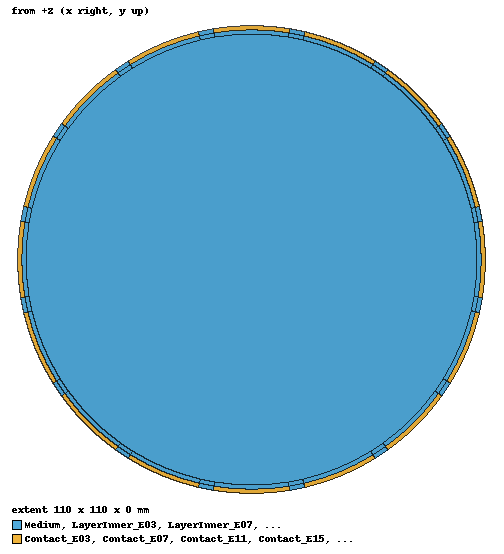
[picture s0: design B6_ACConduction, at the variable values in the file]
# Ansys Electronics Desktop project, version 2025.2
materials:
  vacuum: permittivity=1
  CCEIT_Medium: permittivity=80 permeability=1 conductivity=0.025S_per_m
  CCEIT_Layer: permittivity=1.58 permeability=1 conductivity=1e-12S_per_m
  CCEIT_Contact: permittivity=10 permeability=1 conductivity=0.1S_per_m

design B6_ACConduction (Maxwell 2D, AC Conduction, XY geometry, model units mm)
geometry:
  Medium [CCEIT_Medium] = polyline(z=0mm, xy in mm: (-8.6340743, -52.291995) (-4.3315272, -52.822702) (3.2452068e-15, -53) (4.3315272, -52.822702) (8.6340743, -52.291995) (12.034436, -51.615621) (16.212564, -50.459417) (20.282222, -48.965615) (24.216182, -47.14421) (27.988125, -45.007387) (30.870812, -43.081237) (34.288439, -40.414143) (37.476659, -37.476659) (40.414143, -34.288439) (43.081237, -30.870812) (45.007387, -27.988125) (47.14421, -24.216182) (48.965615, -20.282222) (50.459417, -16.212564) (51.615621, -12.034436) (52.291995, -8.6340743) (52.822702, -4.3315272) (53, 0) (52.822702, 4.3315272) (52.291995, 8.6340743) (51.615621, 12.034436) (50.459417, 16.212564) (48.965615, 20.282222) (47.14421, 24.216182) (45.007387, 27.988125) (43.081237, 30.870812) (40.414143, 34.288439) (37.476659, 37.476659) (34.288439, 40.414143) (30.870812, 43.081237) (27.988125, 45.007387) (24.216182, 47.14421) (20.282222, 48.965615) (16.212564, 50.459417) (12.034436, 51.615621) (8.6340743, 52.291995) (4.3315272, 52.822702) (3.2452068e-15, 53) (-4.3315272, 52.822702) (-8.6340743, 52.291995) (-12.034436, 51.615621) (-16.212564, 50.459417) (-20.282222, 48.965615) (-24.216182, 47.14421) (-27.988125, 45.007387) (-30.870812, 43.081237) (-34.288439, 40.414143) (-37.476659, 37.476659) (-40.414143, 34.288439) (-43.081237, 30.870812) (-45.007387, 27.988125) (-47.14421, 24.216182) (-48.965615, 20.282222) (-50.459417, 16.212564) (-51.615621, 12.034436) (-52.291995, 8.6340743) (-52.822702, 4.3315272) (-53, 6.4904137e-15) (-52.822702, -4.3315272) (-52.291995, -8.6340743) (-51.615621, -12.034436) (-50.459417, -16.212564) (-48.965615, -20.282222) (-47.14421, -24.216182) (-45.007387, -27.988125) (-43.081237, -30.870812) (-40.414143, -34.288439) (-37.476659, -37.476659) (-34.288439, -40.414143) (-30.870812, -43.081237) (-27.988125, -45.007387) (-24.216182, -47.14421) (-20.282222, -48.965615) (-16.212564, -50.459417) (-12.034436, -51.615621), closed, covered)
  LayerInner_E01 [CCEIT_Layer] = polyline(z=0mm, xy in mm: (-8.7969814, -53.278637) (-4.4132541, -53.819357) (3.3064372e-15, -54) (4.4132541, -53.819357) (8.7969814, -53.278637) (8.6340743, -52.291995) (4.3315272, -52.822702) (3.2452068e-15, -53) (-4.3315272, -52.822702) (-8.6340743, -52.291995), closed, covered)
  LayerInner_G01 [CCEIT_Layer] = polyline(z=0mm, xy in mm: (8.7969814, -53.278637) (12.2615, -52.589501) (12.034436, -51.615621) (8.6340743, -52.291995), closed, covered)
  Contact_E01 [CCEIT_Contact] = polyline(z=0mm, xy in mm: (-8.9598885, -54.265278) (-4.494981, -54.816012) (3.3676675e-15, -55) (4.494981, -54.816012) (8.9598885, -54.265278) (8.7969814, -53.278637) (4.4132541, -53.819357) (3.3064372e-15, -54) (-4.4132541, -53.819357) (-8.7969814, -53.278637), closed, covered)
  LayerOuter_G01 [CCEIT_Layer] = polyline(z=0mm, xy in mm: (8.9598885, -54.265278) (12.488565, -53.563381) (12.2615, -52.589501) (8.7969814, -53.278637), closed, covered)
  LayerInner_E02 [CCEIT_Layer] = polyline(z=0mm, xy in mm: (12.2615, -52.589501) (16.518461, -51.411482) (20.664905, -49.889495) (24.673091, -48.033723) (28.516203, -45.856583) (27.988125, -45.007387) (24.216182, -47.14421) (20.282222, -48.965615) (16.212564, -50.459417) (12.034436, -51.615621), closed, covered)
  LayerInner_G02 [CCEIT_Layer] = polyline(z=0mm, xy in mm: (28.516203, -45.856583) (31.45328, -43.89409) (30.870812, -43.081237) (27.988125, -45.007387), closed, covered)
  Contact_E02 [CCEIT_Contact] = polyline(z=0mm, xy in mm: (12.488565, -53.563381) (16.824359, -52.363546) (21.047589, -50.813374) (25.13, -48.923237) (29.04428, -46.705779) (28.516203, -45.856583) (24.673091, -48.033723) (20.664905, -49.889495) (16.518461, -51.411482) (12.2615, -52.589501), closed, covered)
  LayerOuter_G02 [CCEIT_Layer] = polyline(z=0mm, xy in mm: (29.04428, -46.705779) (32.035748, -44.706944) (31.45328, -43.89409) (28.516203, -45.856583), closed, covered)
  LayerInner_E03 [CCEIT_Layer] = polyline(z=0mm, xy in mm: (31.45328, -43.89409) (34.93539, -41.176674) (38.183766, -38.183766) (41.176674, -34.93539) (43.89409, -31.45328) (43.081237, -30.870812) (40.414143, -34.288439) (37.476659, -37.476659) (34.288439, -40.414143) (30.870812, -43.081237), closed, covered)
  LayerInner_G03 [CCEIT_Layer] = polyline(z=0mm, xy in mm: (43.89409, -31.45328) (45.856583, -28.516203) (45.007387, -27.988125) (43.081237, -30.870812), closed, covered)
  Contact_E03 [CCEIT_Contact] = polyline(z=0mm, xy in mm: (32.035748, -44.706944) (35.582342, -41.939205) (38.890873, -38.890873) (41.939205, -35.582342) (44.706944, -32.035748) (43.89409, -31.45328) (41.176674, -34.93539) (38.183766, -38.183766) (34.93539, -41.176674) (31.45328, -43.89409), closed, covered)
  LayerOuter_G03 [CCEIT_Layer] = polyline(z=0mm, xy in mm: (44.706944, -32.035748) (46.705779, -29.04428) (45.856583, -28.516203) (43.89409, -31.45328), closed, covered)
  LayerInner_E04 [CCEIT_Layer] = polyline(z=0mm, xy in mm: (45.856583, -28.516203) (48.033723, -24.673091) (49.889495, -20.664905) (51.411482, -16.518461) (52.589501, -12.2615) (51.615621, -12.034436) (50.459417, -16.212564) (48.965615, -20.282222) (47.14421, -24.216182) (45.007387, -27.988125), closed, covered)
  LayerInner_G04 [CCEIT_Layer] = polyline(z=0mm, xy in mm: (52.589501, -12.2615) (53.278637, -8.7969814) (52.291995, -8.6340743) (51.615621, -12.034436), closed, covered)
  Contact_E04 [CCEIT_Contact] = polyline(z=0mm, xy in mm: (46.705779, -29.04428) (48.923237, -25.13) (50.813374, -21.047589) (52.363546, -16.824359) (53.563381, -12.488565) (52.589501, -12.2615) (51.411482, -16.518461) (49.889495, -20.664905) (48.033723, -24.673091) (45.856583, -28.516203), closed, covered)
  LayerOuter_G04 [CCEIT_Layer] = polyline(z=0mm, xy in mm: (53.563381, -12.488565) (54.265278, -8.9598885) (53.278637, -8.7969814) (52.589501, -12.2615), closed, covered)
  LayerInner_E05 [CCEIT_Layer] = polyline(z=0mm, xy in mm: (53.278637, -8.7969814) (53.819357, -4.4132541) (54, 0) (53.819357, 4.4132541) (53.278637, 8.7969814) (52.291995, 8.6340743) (52.822702, 4.3315272) (53, 0) (52.822702, -4.3315272) (52.291995, -8.6340743), closed, covered)
  LayerInner_G05 [CCEIT_Layer] = polyline(z=0mm, xy in mm: (53.278637, 8.7969814) (52.589501, 12.2615) (51.615621, 12.034436) (52.291995, 8.6340743), closed, covered)
  Contact_E05 [CCEIT_Contact] = polyline(z=0mm, xy in mm: (54.265278, -8.9598885) (54.816012, -4.494981) (55, 0) (54.816012, 4.494981) (54.265278, 8.9598885) (53.278637, 8.7969814) (53.819357, 4.4132541) (54, 0) (53.819357, -4.4132541) (53.278637, -8.7969814), closed, covered)
  LayerOuter_G05 [CCEIT_Layer] = polyline(z=0mm, xy in mm: (54.265278, 8.9598885) (53.563381, 12.488565) (52.589501, 12.2615) (53.278637, 8.7969814), closed, covered)
  LayerInner_E06 [CCEIT_Layer] = polyline(z=0mm, xy in mm: (52.589501, 12.2615) (51.411482, 16.518461) (49.889495, 20.664905) (48.033723, 24.673091) (45.856583, 28.516203) (45.007387, 27.988125) (47.14421, 24.216182) (48.965615, 20.282222) (50.459417, 16.212564) (51.615621, 12.034436), closed, covered)
  LayerInner_G06 [CCEIT_Layer] = polyline(z=0mm, xy in mm: (45.856583, 28.516203) (43.89409, 31.45328) (43.081237, 30.870812) (45.007387, 27.988125), closed, covered)
  Contact_E06 [CCEIT_Contact] = polyline(z=0mm, xy in mm: (53.563381, 12.488565) (52.363546, 16.824359) (50.813374, 21.047589) (48.923237, 25.13) (46.705779, 29.04428) (45.856583, 28.516203) (48.033723, 24.673091) (49.889495, 20.664905) (51.411482, 16.518461) (52.589501, 12.2615), closed, covered)
  LayerOuter_G06 [CCEIT_Layer] = polyline(z=0mm, xy in mm: (46.705779, 29.04428) (44.706944, 32.035748) (43.89409, 31.45328) (45.856583, 28.516203), closed, covered)
  LayerInner_E07 [CCEIT_Layer] = polyline(z=0mm, xy in mm: (43.89409, 31.45328) (41.176674, 34.93539) (38.183766, 38.183766) (34.93539, 41.176674) (31.45328, 43.89409) (30.870812, 43.081237) (34.288439, 40.414143) (37.476659, 37.476659) (40.414143, 34.288439) (43.081237, 30.870812), closed, covered)
  LayerInner_G07 [CCEIT_Layer] = polyline(z=0mm, xy in mm: (31.45328, 43.89409) (28.516203, 45.856583) (27.988125, 45.007387) (30.870812, 43.081237), closed, covered)
  Contact_E07 [CCEIT_Contact] = polyline(z=0mm, xy in mm: (44.706944, 32.035748) (41.939205, 35.582342) (38.890873, 38.890873) (35.582342, 41.939205) (32.035748, 44.706944) (31.45328, 43.89409) (34.93539, 41.176674) (38.183766, 38.183766) (41.176674, 34.93539) (43.89409, 31.45328), closed, covered)
  LayerOuter_G07 [CCEIT_Layer] = polyline(z=0mm, xy in mm: (32.035748, 44.706944) (29.04428, 46.705779) (28.516203, 45.856583) (31.45328, 43.89409), closed, covered)
  LayerInner_E08 [CCEIT_Layer] = polyline(z=0mm, xy in mm: (28.516203, 45.856583) (24.673091, 48.033723) (20.664905, 49.889495) (16.518461, 51.411482) (12.2615, 52.589501) (12.034436, 51.615621) (16.212564, 50.459417) (20.282222, 48.965615) (24.216182, 47.14421) (27.988125, 45.007387), closed, covered)
  LayerInner_G08 [CCEIT_Layer] = polyline(z=0mm, xy in mm: (12.2615, 52.589501) (8.7969814, 53.278637) (8.6340743, 52.291995) (12.034436, 51.615621), closed, covered)
  Contact_E08 [CCEIT_Contact] = polyline(z=0mm, xy in mm: (29.04428, 46.705779) (25.13, 48.923237) (21.047589, 50.813374) (16.824359, 52.363546) (12.488565, 53.563381) (12.2615, 52.589501) (16.518461, 51.411482) (20.664905, 49.889495) (24.673091, 48.033723) (28.516203, 45.856583), closed, covered)
  LayerOuter_G08 [CCEIT_Layer] = polyline(z=0mm, xy in mm: (12.488565, 53.563381) (8.9598885, 54.265278) (8.7969814, 53.278637) (12.2615, 52.589501), closed, covered)
  LayerInner_E09 [CCEIT_Layer] = polyline(z=0mm, xy in mm: (8.7969814, 53.278637) (4.4132541, 53.819357) (3.3064372e-15, 54) (-4.4132541, 53.819357) (-8.7969814, 53.278637) (-8.6340743, 52.291995) (-4.3315272, 52.822702) (3.2452068e-15, 53) (4.3315272, 52.822702) (8.6340743, 52.291995), closed, covered)
  LayerInner_G09 [CCEIT_Layer] = polyline(z=0mm, xy in mm: (-8.7969814, 53.278637) (-12.2615, 52.589501) (-12.034436, 51.615621) (-8.6340743, 52.291995), closed, covered)
  Contact_E09 [CCEIT_Contact] = polyline(z=0mm, xy in mm: (8.9598885, 54.265278) (4.494981, 54.816012) (3.3676675e-15, 55) (-4.494981, 54.816012) (-8.9598885, 54.265278) (-8.7969814, 53.278637) (-4.4132541, 53.819357) (3.3064372e-15, 54) (4.4132541, 53.819357) (8.7969814, 53.278637), closed, covered)
  LayerOuter_G09 [CCEIT_Layer] = polyline(z=0mm, xy in mm: (-8.9598885, 54.265278) (-12.488565, 53.563381) (-12.2615, 52.589501) (-8.7969814, 53.278637), closed, covered)
  LayerInner_E10 [CCEIT_Layer] = polyline(z=0mm, xy in mm: (-12.2615, 52.589501) (-16.518461, 51.411482) (-20.664905, 49.889495) (-24.673091, 48.033723) (-28.516203, 45.856583) (-27.988125, 45.007387) (-24.216182, 47.14421) (-20.282222, 48.965615) (-16.212564, 50.459417) (-12.034436, 51.615621), closed, covered)
  LayerInner_G10 [CCEIT_Layer] = polyline(z=0mm, xy in mm: (-28.516203, 45.856583) (-31.45328, 43.89409) (-30.870812, 43.081237) (-27.988125, 45.007387), closed, covered)
  Contact_E10 [CCEIT_Contact] = polyline(z=0mm, xy in mm: (-12.488565, 53.563381) (-16.824359, 52.363546) (-21.047589, 50.813374) (-25.13, 48.923237) (-29.04428, 46.705779) (-28.516203, 45.856583) (-24.673091, 48.033723) (-20.664905, 49.889495) (-16.518461, 51.411482) (-12.2615, 52.589501), closed, covered)
  LayerOuter_G10 [CCEIT_Layer] = polyline(z=0mm, xy in mm: (-29.04428, 46.705779) (-32.035748, 44.706944) (-31.45328, 43.89409) (-28.516203, 45.856583), closed, covered)
  LayerInner_E11 [CCEIT_Layer] = polyline(z=0mm, xy in mm: (-31.45328, 43.89409) (-34.93539, 41.176674) (-38.183766, 38.183766) (-41.176674, 34.93539) (-43.89409, 31.45328) (-43.081237, 30.870812) (-40.414143, 34.288439) (-37.476659, 37.476659) (-34.288439, 40.414143) (-30.870812, 43.081237), closed, covered)
  LayerInner_G11 [CCEIT_Layer] = polyline(z=0mm, xy in mm: (-43.89409, 31.45328) (-45.856583, 28.516203) (-45.007387, 27.988125) (-43.081237, 30.870812), closed, covered)
  Contact_E11 [CCEIT_Contact] = polyline(z=0mm, xy in mm: (-32.035748, 44.706944) (-35.582342, 41.939205) (-38.890873, 38.890873) (-41.939205, 35.582342) (-44.706944, 32.035748) (-43.89409, 31.45328) (-41.176674, 34.93539) (-38.183766, 38.183766) (-34.93539, 41.176674) (-31.45328, 43.89409), closed, covered)
  LayerOuter_G11 [CCEIT_Layer] = polyline(z=0mm, xy in mm: (-44.706944, 32.035748) (-46.705779, 29.04428) (-45.856583, 28.516203) (-43.89409, 31.45328), closed, covered)
  LayerInner_E12 [CCEIT_Layer] = polyline(z=0mm, xy in mm: (-45.856583, 28.516203) (-48.033723, 24.673091) (-49.889495, 20.664905) (-51.411482, 16.518461) (-52.589501, 12.2615) (-51.615621, 12.034436) (-50.459417, 16.212564) (-48.965615, 20.282222) (-47.14421, 24.216182) (-45.007387, 27.988125), closed, covered)
  LayerInner_G12 [CCEIT_Layer] = polyline(z=0mm, xy in mm: (-52.589501, 12.2615) (-53.278637, 8.7969814) (-52.291995, 8.6340743) (-51.615621, 12.034436), closed, covered)
  Contact_E12 [CCEIT_Contact] = polyline(z=0mm, xy in mm: (-46.705779, 29.04428) (-48.923237, 25.13) (-50.813374, 21.047589) (-52.363546, 16.824359) (-53.563381, 12.488565) (-52.589501, 12.2615) (-51.411482, 16.518461) (-49.889495, 20.664905) (-48.033723, 24.673091) (-45.856583, 28.516203), closed, covered)
  LayerOuter_G12 [CCEIT_Layer] = polyline(z=0mm, xy in mm: (-53.563381, 12.488565) (-54.265278, 8.9598885) (-53.278637, 8.7969814) (-52.589501, 12.2615), closed, covered)
  LayerInner_E13 [CCEIT_Layer] = polyline(z=0mm, xy in mm: (-53.278637, 8.7969814) (-53.819357, 4.4132541) (-54, 6.6128743e-15) (-53.819357, -4.4132541) (-53.278637, -8.7969814) (-52.291995, -8.6340743) (-52.822702, -4.3315272) (-53, 6.4904137e-15) (-52.822702, 4.3315272) (-52.291995, 8.6340743), closed, covered)
  LayerInner_G13 [CCEIT_Layer] = polyline(z=0mm, xy in mm: (-53.278637, -8.7969814) (-52.589501, -12.2615) (-51.615621, -12.034436) (-52.291995, -8.6340743), closed, covered)
  Contact_E13 [CCEIT_Contact] = polyline(z=0mm, xy in mm: (-54.265278, 8.9598885) (-54.816012, 4.494981) (-55, 6.7353349e-15) (-54.816012, -4.494981) (-54.265278, -8.9598885) (-53.278637, -8.7969814) (-53.819357, -4.4132541) (-54, 6.6128743e-15) (-53.819357, 4.4132541) (-53.278637, 8.7969814), closed, covered)
  LayerOuter_G13 [CCEIT_Layer] = polyline(z=0mm, xy in mm: (-54.265278, -8.9598885) (-53.563381, -12.488565) (-52.589501, -12.2615) (-53.278637, -8.7969814), closed, covered)
  LayerInner_E14 [CCEIT_Layer] = polyline(z=0mm, xy in mm: (-52.589501, -12.2615) (-51.411482, -16.518461) (-49.889495, -20.664905) (-48.033723, -24.673091) (-45.856583, -28.516203) (-45.007387, -27.988125) (-47.14421, -24.216182) (-48.965615, -20.282222) (-50.459417, -16.212564) (-51.615621, -12.034436), closed, covered)
  LayerInner_G14 [CCEIT_Layer] = polyline(z=0mm, xy in mm: (-45.856583, -28.516203) (-43.89409, -31.45328) (-43.081237, -30.870812) (-45.007387, -27.988125), closed, covered)
  Contact_E14 [CCEIT_Contact] = polyline(z=0mm, xy in mm: (-53.563381, -12.488565) (-52.363546, -16.824359) (-50.813374, -21.047589) (-48.923237, -25.13) (-46.705779, -29.04428) (-45.856583, -28.516203) (-48.033723, -24.673091) (-49.889495, -20.664905) (-51.411482, -16.518461) (-52.589501, -12.2615), closed, covered)
  LayerOuter_G14 [CCEIT_Layer] = polyline(z=0mm, xy in mm: (-46.705779, -29.04428) (-44.706944, -32.035748) (-43.89409, -31.45328) (-45.856583, -28.516203), closed, covered)
  LayerInner_E15 [CCEIT_Layer] = polyline(z=0mm, xy in mm: (-43.89409, -31.45328) (-41.176674, -34.93539) (-38.183766, -38.183766) (-34.93539, -41.176674) (-31.45328, -43.89409) (-30.870812, -43.081237) (-34.288439, -40.414143) (-37.476659, -37.476659) (-40.414143, -34.288439) (-43.081237, -30.870812), closed, covered)
  LayerInner_G15 [CCEIT_Layer] = polyline(z=0mm, xy in mm: (-31.45328, -43.89409) (-28.516203, -45.856583) (-27.988125, -45.007387) (-30.870812, -43.081237), closed, covered)
  Contact_E15 [CCEIT_Contact] = polyline(z=0mm, xy in mm: (-44.706944, -32.035748) (-41.939205, -35.582342) (-38.890873, -38.890873) (-35.582342, -41.939205) (-32.035748, -44.706944) (-31.45328, -43.89409) (-34.93539, -41.176674) (-38.183766, -38.183766) (-41.176674, -34.93539) (-43.89409, -31.45328), closed, covered)
  LayerOuter_G15 [CCEIT_Layer] = polyline(z=0mm, xy in mm: (-32.035748, -44.706944) (-29.04428, -46.705779) (-28.516203, -45.856583) (-31.45328, -43.89409), closed, covered)
  LayerInner_E16 [CCEIT_Layer] = polyline(z=0mm, xy in mm: (-28.516203, -45.856583) (-24.673091, -48.033723) (-20.664905, -49.889495) (-16.518461, -51.411482) (-12.2615, -52.589501) (-12.034436, -51.615621) (-16.212564, -50.459417) (-20.282222, -48.965615) (-24.216182, -47.14421) (-27.988125, -45.007387), closed, covered)
  LayerInner_G16 [CCEIT_Layer] = polyline(z=0mm, xy in mm: (-12.2615, -52.589501) (-8.7969814, -53.278637) (-8.6340743, -52.291995) (-12.034436, -51.615621), closed, covered)
  Contact_E16 [CCEIT_Contact] = polyline(z=0mm, xy in mm: (-29.04428, -46.705779) (-25.13, -48.923237) (-21.047589, -50.813374) (-16.824359, -52.363546) (-12.488565, -53.563381) (-12.2615, -52.589501) (-16.518461, -51.411482) (-20.664905, -49.889495) (-24.673091, -48.033723) (-28.516203, -45.856583), closed, covered)
  LayerOuter_G16 [CCEIT_Layer] = polyline(z=0mm, xy in mm: (-12.488565, -53.563381) (-8.9598885, -54.265278) (-8.7969814, -53.278637) (-12.2615, -52.589501), closed, covered)
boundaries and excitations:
  V_E01: Voltage Edges=Contact_E01.edge(at (-6.72743, -54.5406, 0), at (-2.24749, -54.908, 0), at (2.24749, -54.908, 0), at (6.72743, -54.5406, 0)) Phase=0deg Value=0V
  V_E02: Voltage Edges=Contact_E02.edge(at (14.6565, -52.9635, 0), at (18.936, -51.5885, 0), at (23.0888, -49.8683, 0), at (27.0871, -47.8145, 0)) Phase=0deg Value=0V
  V_E03: Voltage Edges=Contact_E03.edge(at (33.809, -43.3231, 0), at (37.2366, -40.415, 0), at (40.415, -37.2366, 0), at (43.3231, -33.809, 0)) Phase=0deg Value=0V
  V_E04: Voltage Edges=Contact_E04.edge(at (47.8145, -27.0871, 0), at (49.8683, -23.0888, 0), at (51.5885, -18.936, 0), at (52.9635, -14.6565, 0)) Phase=0deg Value=0V
  V_E05: Voltage Edges=Contact_E05.edge(at (54.5406, -6.72743, 0), at (54.908, -2.24749, 0), at (54.908, 2.24749, 0), at (54.5406, 6.72743, 0)) Phase=0deg Value=0V
  V_E06: Voltage Edges=Contact_E06.edge(at (52.9635, 14.6565, 0), at (51.5885, 18.936, 0), at (49.8683, 23.0888, 0), at (47.8145, 27.0871, 0)) Phase=0deg Value=0V
  V_E07: Voltage Edges=Contact_E07.edge(at (43.3231, 33.809, 0), at (40.415, 37.2366, 0), at (37.2366, 40.415, 0), at (33.809, 43.3231, 0)) Phase=0deg Value=0V
  V_E08: Voltage Edges=Contact_E08.edge(at (27.0871, 47.8145, 0), at (23.0888, 49.8683, 0), at (18.936, 51.5885, 0), at (14.6565, 52.9635, 0)) Phase=0deg Value=0V
  V_E09: Voltage Edges=Contact_E09.edge(at (6.72743, 54.5406, 0), at (2.24749, 54.908, 0), at (-2.24749, 54.908, 0), at (-6.72743, 54.5406, 0)) Phase=0deg Value=0V
  V_E10: Voltage Edges=Contact_E10.edge(at (-14.6565, 52.9635, 0), at (-18.936, 51.5885, 0), at (-23.0888, 49.8683, 0), at (-27.0871, 47.8145, 0)) Phase=0deg Value=0V
  V_E11: Voltage Edges=Contact_E11.edge(at (-33.809, 43.3231, 0), at (-37.2366, 40.415, 0), at (-40.415, 37.2366, 0), at (-43.3231, 33.809, 0)) Phase=0deg Value=0V
  V_E12: Voltage Edges=Contact_E12.edge(at (-47.8145, 27.0871, 0), at (-49.8683, 23.0888, 0), at (-51.5885, 18.936, 0), at (-52.9635, 14.6565, 0)) Phase=0deg Value=0V
  V_E13: Voltage Edges=Contact_E13.edge(at (-54.5406, 6.72743, 0), at (-54.908, 2.24749, 0), at (-54.908, -2.24749, 0), at (-54.5406, -6.72743, 0)) Phase=0deg Value=0V
  V_E14: Voltage Edges=Contact_E14.edge(at (-52.9635, -14.6565, 0), at (-51.5885, -18.936, 0), at (-49.8683, -23.0888, 0), at (-47.8145, -27.0871, 0)) Phase=0deg Value=0V
  V_E15: Voltage Edges=Contact_E15.edge(at (-43.3231, -33.809, 0), at (-40.415, -37.2366, 0), at (-37.2366, -40.415, 0), at (-33.809, -43.3231, 0)) Phase=0deg Value=0V
  V_E16: Voltage Edges=Contact_E16.edge(at (-27.0871, -47.8145, 0), at (-23.0888, -49.8683, 0), at (-18.936, -51.5885, 0), at (-14.6565, -52.9635, 0)) Phase=0deg Value=0V
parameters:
  B6_YMatrix: Matrix GroundSources(15); V_E01, V_E02, V_E03, V_E04, V_E05, V_E06, V_E07, V_E08, V_E09, V_E10..V_E15: NumberOfTurns=1
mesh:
  L_Medium: LengthBased RefineInside Objects=Medium NumMaxElem=500
  L_Thin: LengthBased RefineInside Objects=[Contact_E01, Contact_E02, Contact_E03, Contact_E04, Contact_E05, Contact_E06, Contact_E07, Contact_E08, Contact_E09, Contact_E10..Contact_E16] NumMaxElem=200
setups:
  Setup1: AC Conduction MaximumPasses=1 MinimumPasses=1 MinimumConvergedPasses=1 PercentRefinement=30 PercentError=1 NonLinearResidual=0.001 Frequency=500kHz
